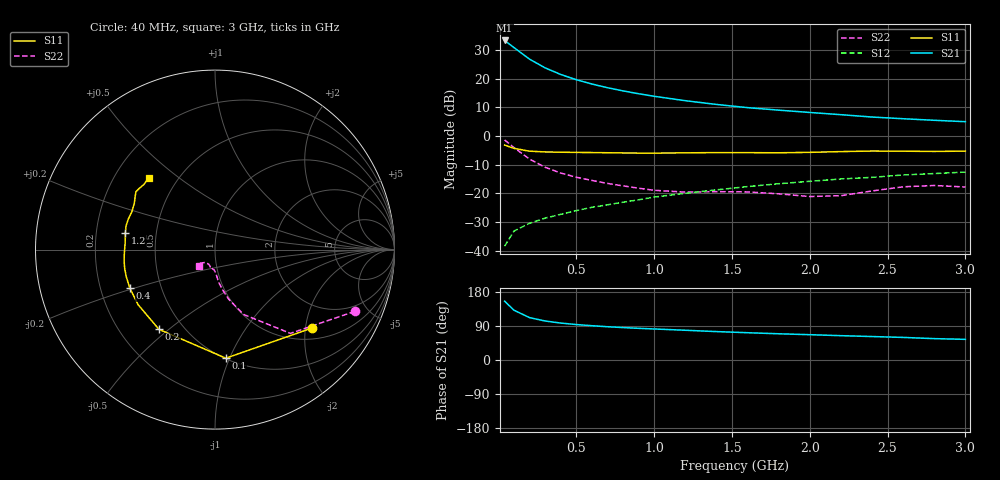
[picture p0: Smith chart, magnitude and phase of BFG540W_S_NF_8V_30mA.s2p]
! Filename:  BFG540WJ.S2P  Version:  4.0
! Philips part #: BFG540  Date: Jun 1994
! Bias condition: Vce=8.0V, Ic=30.0mA
! IN LINE PINNING: same data as with croos emitter pinning.
#  MHz  S  MA  R  50
! Freq  S11  S21  S12  S22  !GUM [dB]
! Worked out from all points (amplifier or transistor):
!   21 points, 40 MHz to 3 GHz, reference 50 ohm
!   highest |S21| = 33.3 dB at 40 MHz (marker M1)
!   |S21| within 3 dB of that: start of sweep to 112.9 MHz
!   unconditionally stable (mu >= 1): 700.6 MHz to end of sweep
!   at 300 MHz: K = 0.72, MSG = 26.2 dB, |S12| = -28.6 dB
!   at 1 GHz: K = 1.06, MAG = 16.0 dB, |S12| = -21.3 dB
!   at 3 GHz: K = 1.08, MAG = 7.1 dB, |S12| = -12.6 dB
!   lowest NFmin = 1.70 dB at 900 MHz
!   S11 on the Smith chart (normalised r, x): 40 MHz: 1.28, -2.16; 100 MHz: 0.50, -0.97; 200 MHz: 0.37, -0.46; 400 MHz: 0.33, -0.19; 1.2 GHz: 0.33, +0.08; 3 GHz: 0.35, +0.39
40  0.694 -39.1  46.2 155.2  0.012 71.3  0.852 -23.8
100  0.608 -84.3  34.72 131.4  0.022 57.2  0.628 -48.0
200  0.543 -125.1  21.83 111.9  0.03 52.8  0.395 -66.2
300  0.527 -144.4  15.39 102.9  0.037 55.2  0.285 -74.7
400  0.521 -155.6  11.81 97.5  0.043 58.3  0.226 -79.5
500  0.517 -163.0  9.569 93.5  0.05 61.4  0.191 -82.7
600  0.514 -168.4  8.051 90.5  0.057 64.0  0.168 -84.7
700  0.51 -173.1  6.945 87.8  0.063 65.9  0.149 -86.2
800  0.506 -177.1  6.11 85.6  0.07 67.2  0.135 -87.6
900  0.503 179.1  5.447 83.6  0.077 68.4  0.123 -89.8
1000  0.502 175.4  4.918 81.9  0.086 69.1  0.113 -92.7
1200  0.508 169.4  4.12 78.5  0.1 70.4  0.105 -100.1
1400  0.513 164.9  3.545 75.0  0.115 70.8  0.107 -104.6
1600  0.512 160.6  3.117 72.0  0.131 71.5  0.106 -105.1
1800  0.509 155.6  2.819 69.2  0.147 70.7  0.098 -105.4
2000  0.518 150.2  2.569 66.8  0.162 70.6  0.088 -113.7
2200  0.534 146.4  2.35 64.2  0.178 69.9  0.091 -128.0
2400  0.546 143.8  2.137 61.9  0.19 70.1  0.11 -136.8
2600  0.543 141.3  1.997 59.6  0.209 69.3  0.13 -136.1
2800  0.537 137.6  1.875 56.4  0.221 67.7  0.137 -132.9
3000  0.545 132.6  1.774 54.5  0.235 67.4  0.129 -134.3
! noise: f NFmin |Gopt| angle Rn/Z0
900  1.7  0.241  149  0.15
2000  2.4  0.479  -163  0.12
